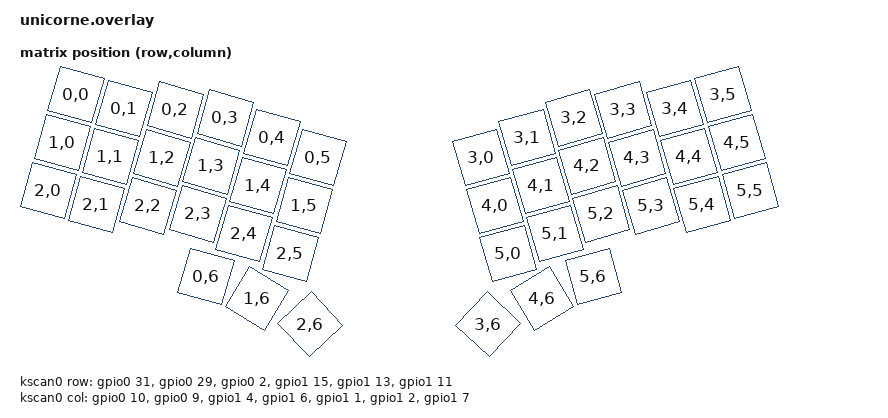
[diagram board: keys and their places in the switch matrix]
/*
 * Unicorne: unibody 42-key choc Corne with a center Azoteq TPS43 trackpad.
 * Handwired to a nice!nano v2.
 *
 * Matrix: 6 rows x 7 cols, diodes col2row (cathode/stripe towards the row wire).
 * Only the nRF52840 "low frequency I/O only" pins are used for the matrix,
 * leaving the full-speed pins free for the trackpad I2C bus.
 *
 *   Left half              Right half
 *   rows 0-2               rows 3-5
 *   col 0..5 = outer->inner  col 0..5 = inner->outer
 *   col 6 = thumbs (row 0/3 = top thumb ... row 2/5 = steepest thumb)
 *
 *   ROW0 D21 P0.31   COL0 D16 P0.10
 *   ROW1 D20 P0.29   COL1 D10 P0.09
 *   ROW2 D19 P0.02   COL2 D8  P1.04
 *   ROW3 D18 P1.15   COL3 D9  P1.06
 *   ROW4 D15 P1.13   COL4 P1.01 (center pad)
 *   ROW5 D14 P1.11   COL5 P1.02 (center pad)
 *                    COL6 P1.07 (center pad)
 *
 *   TPS43: SDA D2 P0.17, SCL D3 P0.20, RDY D4 P0.22, RST D5 P0.24, VDD VCC, GND
 */

#include <dt-bindings/zmk/matrix_transform.h>
#include <physical_layouts.dtsi>

/* P0.09 / P0.10 default to NFC antenna pins; release them as GPIOs. */
&uicr {
    nfct-pins-as-gpios;
};

/ {
    chosen {
        zmk,kscan = &kscan0;
        zmk,physical-layout = &unicorne_layout;
    };

    kscan0: kscan {
        compatible = "zmk,kscan-gpio-matrix";
        diode-direction = "col2row";
        wakeup-source;

        row-gpios
            = <&gpio0 31 (GPIO_ACTIVE_HIGH | GPIO_PULL_DOWN)>
            , <&gpio0 29 (GPIO_ACTIVE_HIGH | GPIO_PULL_DOWN)>
            , <&gpio0  2 (GPIO_ACTIVE_HIGH | GPIO_PULL_DOWN)>
            , <&gpio1 15 (GPIO_ACTIVE_HIGH | GPIO_PULL_DOWN)>
            , <&gpio1 13 (GPIO_ACTIVE_HIGH | GPIO_PULL_DOWN)>
            , <&gpio1 11 (GPIO_ACTIVE_HIGH | GPIO_PULL_DOWN)>
            ;

        col-gpios
            = <&gpio0 10 GPIO_ACTIVE_HIGH>
            , <&gpio0  9 GPIO_ACTIVE_HIGH>
            , <&gpio1  4 GPIO_ACTIVE_HIGH>
            , <&gpio1  6 GPIO_ACTIVE_HIGH>
            , <&gpio1  1 GPIO_ACTIVE_HIGH>
            , <&gpio1  2 GPIO_ACTIVE_HIGH>
            , <&gpio1  7 GPIO_ACTIVE_HIGH>
            ;
    };

    default_transform: keymap_transform_0 {
        compatible = "zmk,matrix-transform";
        rows = <6>;
        columns = <7>;
        map = <
RC(0,0) RC(0,1) RC(0,2) RC(0,3) RC(0,4) RC(0,5)   RC(3,0) RC(3,1) RC(3,2) RC(3,3) RC(3,4) RC(3,5)
RC(1,0) RC(1,1) RC(1,2) RC(1,3) RC(1,4) RC(1,5)   RC(4,0) RC(4,1) RC(4,2) RC(4,3) RC(4,4) RC(4,5)
RC(2,0) RC(2,1) RC(2,2) RC(2,3) RC(2,4) RC(2,5)   RC(5,0) RC(5,1) RC(5,2) RC(5,3) RC(5,4) RC(5,5)
                        RC(0,6) RC(1,6) RC(2,6)   RC(3,6) RC(4,6) RC(5,6)
        >;
    };

    /* Key positions measured from cad/unicorne-choc-42-plate.step, 1u = 19 mm. */
    unicorne_layout: unicorne_layout {
        compatible = "zmk,physical-layout";
        display-name = "Unicorne";
        transform = <&default_transform>;
        keys  //                     w   h     x     y     rot    rx    ry
            = <&key_physical_attrs 100 100    55     0   1600   105    50>
            , <&key_physical_attrs 100 100   151    28   1600   201    78>
            , <&key_physical_attrs 100 100   254    31   1600   304    81>
            , <&key_physical_attrs 100 100   354    47   1600   404    97>
            , <&key_physical_attrs 100 100   447    86   1600   497   136>
            , <&key_physical_attrs 100 100   539   126   1600   589   176>
            , <&key_physical_attrs 100 100   865   126  (-1600)   915   176>
            , <&key_physical_attrs 100 100   958    86  (-1600)  1008   136>
            , <&key_physical_attrs 100 100  1051    47  (-1600)  1101    97>
            , <&key_physical_attrs 100 100  1150    31  (-1600)  1200    81>
            , <&key_physical_attrs 100 100  1253    28  (-1600)  1303    78>
            , <&key_physical_attrs 100 100  1349     0  (-1600)  1399    50>
            , <&key_physical_attrs 100 100    28    96   1600    78   146>
            , <&key_physical_attrs 100 100   124   124   1600   174   174>
            , <&key_physical_attrs 100 100   227   127   1600   277   177>
            , <&key_physical_attrs 100 100   326   143   1600   376   193>
            , <&key_physical_attrs 100 100   419   182   1600   469   232>
            , <&key_physical_attrs 100 100   512   222   1600   562   272>
            , <&key_physical_attrs 100 100   893   222  (-1600)   943   272>
            , <&key_physical_attrs 100 100   985   182  (-1600)  1035   232>
            , <&key_physical_attrs 100 100  1078   143  (-1600)  1128   193>
            , <&key_physical_attrs 100 100  1178   127  (-1600)  1228   177>
            , <&key_physical_attrs 100 100  1281   124  (-1600)  1331   174>
            , <&key_physical_attrs 100 100  1377    96  (-1600)  1427   146>
            , <&key_physical_attrs 100 100     0   192   1600    50   242>
            , <&key_physical_attrs 100 100    96   220   1600   146   270>
            , <&key_physical_attrs 100 100   199   223   1600   249   273>
            , <&key_physical_attrs 100 100   299   239   1600   349   289>
            , <&key_physical_attrs 100 100   391   278   1600   441   328>
            , <&key_physical_attrs 100 100   484   318   1600   534   368>
            , <&key_physical_attrs 100 100   920   318  (-1600)   970   368>
            , <&key_physical_attrs 100 100  1013   278  (-1600)  1063   328>
            , <&key_physical_attrs 100 100  1106   239  (-1600)  1156   289>
            , <&key_physical_attrs 100 100  1205   223  (-1600)  1255   273>
            , <&key_physical_attrs 100 100  1308   220  (-1600)  1358   270>
            , <&key_physical_attrs 100 100  1404   192  (-1600)  1454   242>
            , <&key_physical_attrs 100 100   315   364   1600   365   414>
            , <&key_physical_attrs 100 100   417   408   3100   467   458>
            , <&key_physical_attrs 100 100   524   460   4600   574   510>
            , <&key_physical_attrs 100 100   880   460  (-4600)   930   510>
            , <&key_physical_attrs 100 100   987   408  (-3100)  1037   458>
            , <&key_physical_attrs 100 100  1090   364  (-1600)  1140   414>
            ;
    };
};

/*
 * Optional nice!view (build with shield "unicorne nice_view").
 * SPI1 is used because SPI0 shares its peripheral with the trackpad's I2C0.
 *   SCK D0 P0.08, MOSI D6 P1.00, CS D1 P0.06, VCC VCC, GND GND
 */
&pinctrl {
    spi1_nice_view_default: spi1_nice_view_default {
        group1 {
            psels = <NRF_PSEL(SPIM_SCK, 0, 8)>,
                <NRF_PSEL(SPIM_MOSI, 1, 0)>;
        };
    };
    spi1_nice_view_sleep: spi1_nice_view_sleep {
        group1 {
            psels = <NRF_PSEL(SPIM_SCK, 0, 8)>,
                <NRF_PSEL(SPIM_MOSI, 1, 0)>;
            low-power-enable;
        };
    };
};

nice_view_spi: &spi1 {
    compatible = "nordic,nrf-spim";
    pinctrl-0 = <&spi1_nice_view_default>;
    pinctrl-1 = <&spi1_nice_view_sleep>;
    pinctrl-names = "default", "sleep";
    cs-gpios = <&gpio0 6 GPIO_ACTIVE_HIGH>;
};

&i2c0 {
    status = "okay";
    compatible = "nordic,nrf-twim";
    clock-frequency = <I2C_BITRATE_FAST>;

    tps43: iqs5xx@74 {
        compatible = "azoteq,iqs5xx";
        reg = <0x74>;
        rdy-gpios = <&gpio0 22 GPIO_ACTIVE_HIGH>;
        reset-gpios = <&gpio0 24 GPIO_ACTIVE_LOW>;

        one-finger-tap;
        two-finger-tap;
        press-and-hold;
        press-and-hold-time = <250>;
        scroll;
        natural-scroll-y;

        bottom-beta = <5>;
        stationary-threshold = <5>;
    };
};
